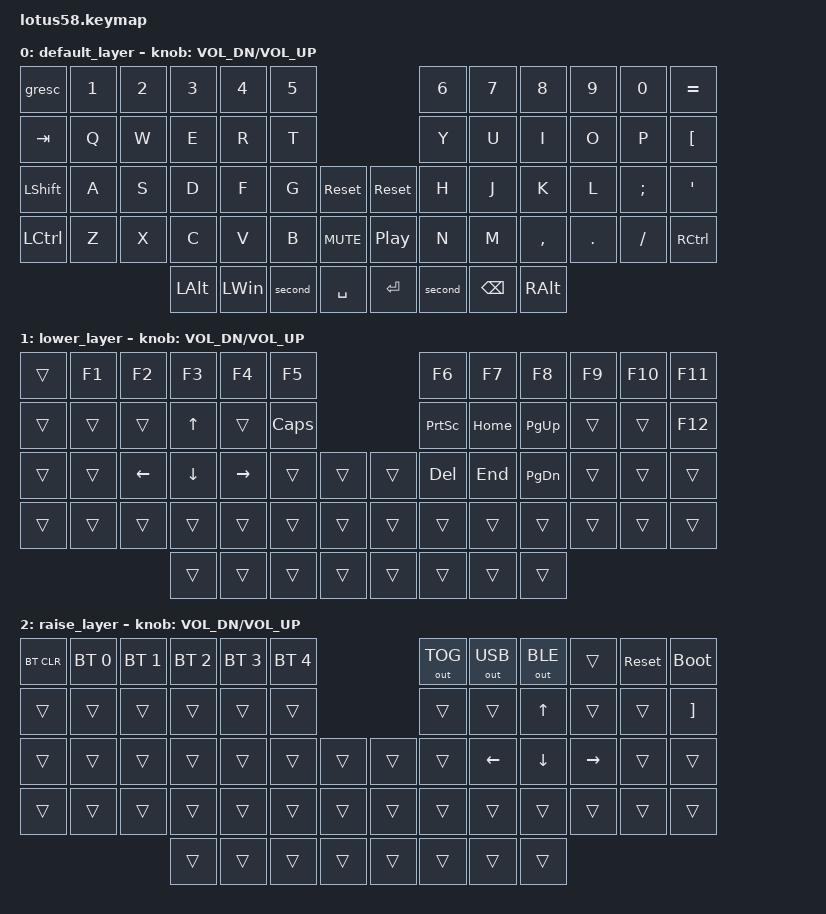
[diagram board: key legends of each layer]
#include <behaviors.dtsi>
#include <dt-bindings/zmk/bt.h>
#include <dt-bindings/zmk/keys.h>
#include <dt-bindings/zmk/outputs.h>

/ {
    combos {
        compatible = "zmk,combos";

        combo_dsklg {
            timeout-ms = <100>;
            key-positions = <24 52>;
            layers = <0>;
            bindings = <&kp LGUI>;
        };
    };

    behaviors {
        second: second {
            compatible = "zmk,behavior-mod-morph";
            label = "SECOND";
            bindings = <&mo 1>, <&tog 2>;

            #binding-cells = <0>;
            mods = <(MOD_LGUI)>;
        };
    };

    keymap {
        compatible = "zmk,keymap";

        default_layer {
            //   ------------------------------------------------------------------------------------------------------------
            //  0|  ESC  |  1  |  2  |  3   |  4   |  5   |                     |  6   |  7    |  8    |  9   |   0   |   =   | 11
            // 12|  TAB  |  Q  |  W  |  E   |  R   |  T   |                     |  Y   |  U    |  I    |  O   |   P   |   [   | 23
            // 24|  SFT  |  A  |  S  |  D   |  F   |  G   |  RESET  |  | RESET  |  H   |  J    |  K    |  L   |   ;   | ' SFT | 37
            // 38|  CTRL |  Z  |  X  |  C   |  V   |  B   |  MUTE   |  | PLAY   |  N   |  M    |  ,    |  .   |   /   | \ CTRL| 51
            // 52                    |ENT RS|  ALT | SPACE|DELETE LW|  |ENTER RS| BSPC |  ] LW | RGUI  |                        59

            bindings = <
&gresc     &kp N1  &kp N2  &kp N3        &kp N4        &kp N5                           &kp N6   &kp N7         &kp N8         &kp N9   &kp N0    &kp EQUAL
&kp TAB    &kp Q   &kp W   &kp E         &kp R         &kp T                            &kp Y    &kp U          &kp I          &kp O    &kp P     &kp LBKT
&kp LSHFT  &kp A   &kp S   &kp D         &kp F         &kp G    &sys_reset  &sys_reset  &kp H    &kp J          &kp K          &kp L    &kp SEMI  &kp SQT
&kp LCTRL  &kp Z   &kp X   &kp C         &kp V         &kp B    &kp C_MUTE  &kp C_PP    &kp N    &kp M          &kp COMMA      &kp DOT  &kp FSLH  &kp RCTRL
                           &kp LEFT_ALT  &kp LEFT_WIN  &second  &kp SPACE   &kp ENTER   &second  &kp BACKSPACE  &kp RIGHT_ALT
            >;

            sensor-bindings = <&inc_dec_kp C_VOL_DN C_VOL_UP>;
        };

        lower_layer {
            // ------------------------------------------------------------------------------------------------------------
            // | `     |  F1 |  F2 |  F3  |  F4  |  F5  |                   |  F6  |  F7   |  F8   |  F9  |  F10  |  F11  |
            // |       |  !  | HOME|   ^  |  END |  %   |                   | VOL^ |  PGUP |  INS  |  ^   |  PSCR |   -   |
            // |       |  #  |  <- |   v  | ->   |  $   |        |  |       | VOLv |    <- |   ^   |  ->  |   ~   |   _   |
            // |       |  @  |  -  |  (   |  )   |  &   |        |  |       | MUTE |  PGDN |   v   |  :   |   *   |   |   |
            //                     |  F11 |      |      |        |  |       |      |       |  F12  |

            bindings = <
&trans  &kp F1  &kp F2    &kp F3    &kp F4     &kp F5                    &kp F6           &kp F7    &kp F8         &kp F9  &kp F10  &kp F11
&trans  &trans  &trans    &kp UP    &trans     &kp CAPS                  &kp PRINTSCREEN  &kp HOME  &kp PAGE_UP    &trans  &trans   &kp F12
&trans  &trans  &kp LEFT  &kp DOWN  &kp RIGHT  &trans    &trans  &trans  &kp DEL          &kp END   &kp PAGE_DOWN  &trans  &trans   &trans
&trans  &trans  &trans    &trans    &trans     &trans    &trans  &trans  &trans           &trans    &trans         &trans  &trans   &trans
                          &trans    &trans     &trans    &trans  &trans  &trans           &trans    &trans
            >;

            sensor-bindings = <&inc_dec_kp C_VOL_DN C_VOL_UP>;
        };

        raise_layer {
            // ------------------------------------------------------------------------------------------------------------
            // |BTCLR| BT1  | BT2  |  BT3  |  BT4  |  BT5 |                |OUTTOG|OUTUSB| OUTBT |      | RESET | FLASH |
            // |     | INS  | PSCR | GUI   | RESET |      |                | PGUP |      |   ^   |      |       |       |
            // |     | ALT  | CTRL | SHIFT | FLASH | CAPS |      |  |      | PGDN |   <- |   v   |  ->  |  DEL  | BSPC  |
            // |     | UNDO | CUT  | COPY  | PASTE |      |      |  |      |      |  |>  |  <|<| | |>|> |       |       |
            //                     |       |       |      |      |  |      |      |      |       |

            bindings = <
&bt BT_CLR  &bt BT_SEL 0  &bt BT_SEL 1  &bt BT_SEL 2  &bt BT_SEL 3  &bt BT_SEL 4                  &out OUT_TOG  &out OUT_USB  &out OUT_BLE  &trans     &sys_reset  &bootloader
&trans      &trans        &trans        &trans        &trans        &trans                        &trans        &trans        &kp UP        &trans     &trans      &kp RBKT
&trans      &trans        &trans        &trans        &trans        &trans        &trans  &trans  &trans        &kp LEFT      &kp DOWN      &kp RIGHT  &trans      &trans
&trans      &trans        &trans        &trans        &trans        &trans        &trans  &trans  &trans        &trans        &trans        &trans     &trans      &trans
                                        &trans        &trans        &trans        &trans  &trans  &trans        &trans        &trans
            >;

            sensor-bindings = <&inc_dec_kp C_VOL_DN C_VOL_UP>;
        };
    };
};
